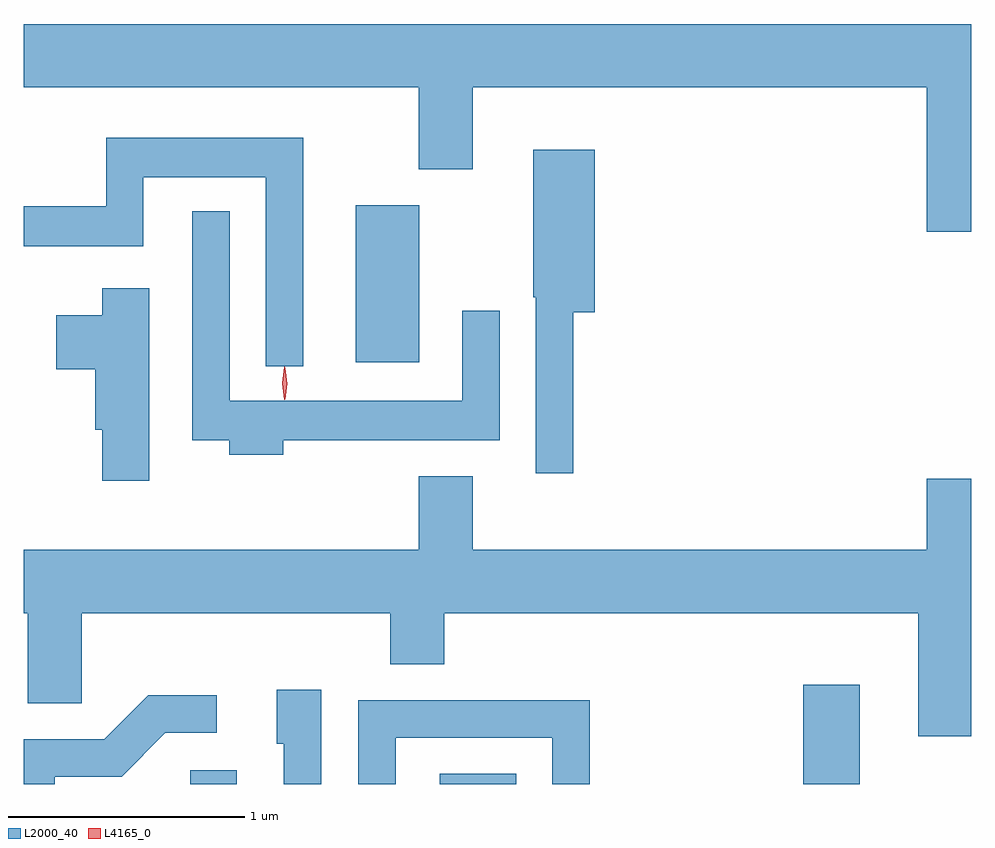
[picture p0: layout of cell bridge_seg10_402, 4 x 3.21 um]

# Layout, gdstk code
import gdstk
lib = gdstk.Library(unit=1e-6, precision=1e-09)
def R(c, l, rs):  # rectangles x0, y0, x1, y1
    for r in rs: c.add(gdstk.rectangle(r[:2], r[2:], *l))
def P(c, l, *ps):  # polygons
    for p in ps: c.add(gdstk.Polygon(p, *l))
L2000_40 = (2000, 40)
L4165_0 = (4165, 0)

bridge_seg10_402 = lib.new_cell('bridge_seg10_402')
R(bridge_seg10_402, L2000_40, [(1370.806,2097.655,1371.004,2097.714), (1371.861,2097.655,1372.184,2097.699), (1373.396,2097.655,1373.634,2098.074), (1371.506,2099.436,1371.774,2100.099)])
P(bridge_seg10_402, L2000_40, [(1374.104,2100.864),(1370.104,2100.864),(1370.104,2100.596),(1371.771,2100.596),(1371.771,2100.251),(1371.999,2100.251),(1371.999,2100.596),(1373.916,2100.596),(1373.916,2099.986),(1374.104,2099.986)],
  [(1371.284,2100.384),(1370.451,2100.384),(1370.451,2100.094),(1370.104,2100.094),(1370.104,2099.926),(1370.609,2099.926),(1370.609,2100.216),(1371.126,2100.216),(1371.126,2099.418),(1371.284,2099.418)],
  [(1372.424,2099.646),(1372.514,2099.646),(1372.514,2100.334),(1372.256,2100.334),(1372.256,2099.71),(1372.266,2099.71),(1372.266,2098.968),(1372.424,2098.968)],
  [(1371.199,2099.106),(1372.114,2099.106),(1372.114,2099.653),(1371.956,2099.653),(1371.956,2099.274),(1370.974,2099.274),(1370.974,2100.073),(1370.816,2100.073),(1370.816,2099.106),(1370.971,2099.106),(1370.971,2099.046),(1371.199,2099.046)],
  [(1370.634,2099.749),(1370.436,2099.749),(1370.436,2099.634),(1370.241,2099.634),(1370.241,2099.406),(1370.406,2099.406),(1370.406,2099.151),(1370.436,2099.151),(1370.436,2098.936),(1370.634,2098.936)],
  [(1374.104,2098.944),(1373.916,2098.944),(1373.916,2098.644),(1371.999,2098.644),(1371.999,2098.954),(1371.771,2098.954),(1371.771,2098.644),(1370.104,2098.644),(1370.104,2098.376),(1370.121,2098.376),(1370.121,2097.996),(1370.349,2097.996),(1370.349,2098.376),(1371.651,2098.376),(1371.651,2098.161),(1371.879,2098.161),(1371.879,2098.376),(1373.881,2098.376),(1373.881,2097.856),(1374.104,2097.856)],
  [(1371.359,2098.054),(1371.171,2098.054),(1371.171,2097.826),(1371.201,2097.826),(1371.201,2097.655),(1371.359,2097.655)],
  [(1370.234,2097.686),(1370.517,2097.686),(1370.702,2097.871),(1370.918,2097.871),(1370.918,2098.029),(1370.629,2098.029),(1370.444,2097.844),(1370.104,2097.844),(1370.104,2097.655),(1370.234,2097.655)],
  [(1371.674,2097.851),(1372.336,2097.851),(1372.336,2097.655),(1372.494,2097.655),(1372.494,2098.009),(1371.516,2098.009),(1371.516,2097.655),(1371.674,2097.655)])
P(bridge_seg10_402, L4165_0, [(1371.205,2099.277),(1371.204,2099.278),(1371.195,2099.347),(1371.204,2099.416),(1371.205,2099.416),(1371.205,2099.416),(1371.215,2099.347),(1371.205,2099.278)],
  [(1371.207,2099.28),(1371.207,2099.28),(1371.197,2099.346),(1371.207,2099.412),(1371.207,2099.413),(1371.208,2099.412),(1371.217,2099.346),(1371.208,2099.28)])

lib.write_gds('bridge_seg10_402.gds')
